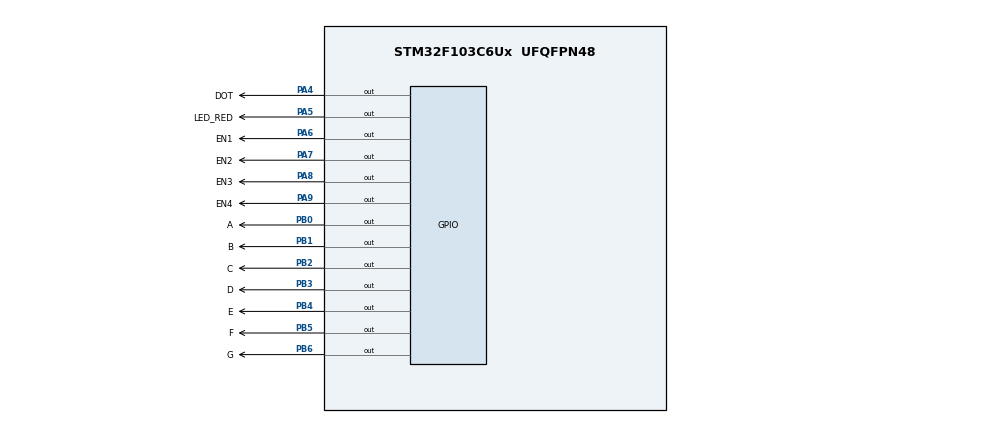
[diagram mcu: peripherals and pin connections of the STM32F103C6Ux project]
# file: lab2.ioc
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Mcu.Family=STM32F1
Mcu.Name=STM32F103C6Ux
Mcu.Package=UFQFPN48
NVIC.PriorityGroup=NVIC_PRIORITYGROUP_4
NVIC.TIM2_IRQn=true\:0\:0\:false\:false\:true\:true\:true
PA4.GPIO_Label=DOT
PA4.Signal=GPIO_Output
PA5.GPIO_Label=LED_RED
PA5.Signal=GPIO_Output
PA6.GPIO_Label=EN1
PA6.Signal=GPIO_Output
PA7.GPIO_Label=EN2
PA7.Signal=GPIO_Output
PA8.GPIO_Label=EN3
PA8.Signal=GPIO_Output
PA9.GPIO_Label=EN4
PA9.Signal=GPIO_Output
PB0.GPIO_Label=A
PB0.Signal=GPIO_Output
PB1.GPIO_Label=B
PB1.Signal=GPIO_Output
PB2.GPIO_Label=C
PB2.Signal=GPIO_Output
PB3.GPIO_Label=D
PB3.Signal=GPIO_Output
PB4.GPIO_Label=E
PB4.Signal=GPIO_Output
PB5.GPIO_Label=F
PB5.Signal=GPIO_Output
PB6.GPIO_Label=G
PB6.Signal=GPIO_Output
ProjectManager.HeapSize=0x200
ProjectManager.StackSize=0x400
ProjectManager.TargetToolchain=STM32CubeIDE
RCC.APB1Freq_Value=8000000
RCC.APB2Freq_Value=8000000
TIM2.Period=9
TIM2.Prescaler=7999
VP_SYS_VS_ND.Mode=No_Debug
VP_TIM2_VS_ClockSourceINT.Mode=Internal
board=custom

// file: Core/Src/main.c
/* USER CODE BEGIN Header */
/**
  ******************************************************************************
  * @file           : main.c
  * @brief          : Main program body
  ******************************************************************************
  * @attention
  *
  * <h2><center>&copy; Copyright (c) 2022 STMicroelectronics.
  * All rights reserved.</center></h2>
  *
  * This software component is licensed by ST under BSD 3-Clause license,
  * the "License"; You may not use this file except in compliance with the
  * License. You may obtain a copy of the License at:
  *                        opensource.org/licenses/BSD-3-Clause
  *
  ******************************************************************************
  */
/* USER CODE END Header */
#include "main.h"

/* USER CODE BEGIN Includes */
#include "software_timer.h"
/* USER CODE END Includes */

TIM_HandleTypeDef htim2;

/* USER CODE BEGIN PV */
int hour, minute, second;
/* USER CODE END PV */

void SystemClock_Config(void);
static void MX_TIM2_Init(void);
static void MX_GPIO_Init(void);
/* USER CODE BEGIN PFP */
void display7SEG(int num);
void update7SEG(int index);
void updateClockBuffer();
/* USER CODE END PFP */

int main(void)
{

  /* MCU Configuration--------------------------------------------------------*/

  /* Reset of all peripherals, Initializes the Flash interface and the Systick. */
  HAL_Init();

  /* Configure the system clock */
  SystemClock_Config();

  /* Initialize all configured peripherals */
  MX_TIM2_Init();
  MX_GPIO_Init();
  /* USER CODE BEGIN 2 */
  HAL_TIM_Base_Start_IT (& htim2 ) ;
  /* USER CODE END 2 */

  /* Infinite loop */
  /* USER CODE BEGIN WHILE */
  setTimer0(1000);
  setTimer1(250);
  hour = 15, minute = 8, second = 50;
  int state = 0;
  while (1)
  {
	  //ex8
	  if( timer0_flag == 1) {
		  second++;
		  if(second >= 60){
			  second = 0;
			  minute++;
		  }
		  if(minute >= 60){
			  minute = 0;
			  hour++;
		  }
		  if(hour >= 24){
			  hour = 0;
		  }
		  updateClockBuffer();
	  	  setTimer0 (10) ;
	  }
	  if(timer1_flag == 1){
		  if(state == 0){
				HAL_GPIO_TogglePin ( DOT_GPIO_Port , DOT_Pin) ;
				setTimer1 (250);
				update7SEG(1);
				state = 1;
		  }
		  else if(state == 1){
				setTimer1 (250);
				update7SEG(2);
				state = 2;
		  }
		  else if(state == 2){
				HAL_GPIO_TogglePin ( DOT_GPIO_Port , DOT_Pin) ;
				setTimer1 (250);
				update7SEG(3);
				state = 3;
		  }
		  else{
				setTimer1 (250);
				update7SEG(0);
				state = 0;
		  }
	  }
    /* USER CODE END WHILE */

  }
}

void SystemClock_Config(void)
{
  RCC_OscInitTypeDef RCC_OscInitStruct = {0};
  RCC_ClkInitTypeDef RCC_ClkInitStruct = {0};

  /** Initializes the RCC Oscillators according to the specified parameters
  * in the RCC_OscInitTypeDef structure.
  */
  RCC_OscInitStruct.OscillatorType = RCC_OSCILLATORTYPE_HSI;
  RCC_OscInitStruct.HSIState = RCC_HSI_ON;
  RCC_OscInitStruct.HSICalibrationValue = RCC_HSICALIBRATION_DEFAULT;
  RCC_OscInitStruct.PLL.PLLState = RCC_PLL_NONE;
  if (HAL_RCC_OscConfig(&RCC_OscInitStruct) != HAL_OK)
  {
    Error_Handler();
  }
  /** Initializes the CPU, AHB and APB buses clocks
  */
  RCC_ClkInitStruct.ClockType = RCC_CLOCKTYPE_HCLK|RCC_CLOCKTYPE_SYSCLK
                              |RCC_CLOCKTYPE_PCLK1|RCC_CLOCKTYPE_PCLK2;
  RCC_ClkInitStruct.SYSCLKSource = RCC_SYSCLKSOURCE_HSI;
  RCC_ClkInitStruct.AHBCLKDivider = RCC_SYSCLK_DIV1;
  RCC_ClkInitStruct.APB1CLKDivider = RCC_HCLK_DIV1;
  RCC_ClkInitStruct.APB2CLKDivider = RCC_HCLK_DIV1;

  if (HAL_RCC_ClockConfig(&RCC_ClkInitStruct, FLASH_LATENCY_0) != HAL_OK)
  {
    Error_Handler();
  }
}

static void MX_TIM2_Init(void)
{

  TIM_ClockConfigTypeDef sClockSourceConfig = {0};
  TIM_MasterConfigTypeDef sMasterConfig = {0};

  htim2.Instance = TIM2;
  htim2.Init.Prescaler = 7999;
  htim2.Init.CounterMode = TIM_COUNTERMODE_UP;
  htim2.Init.Period = 9;
  htim2.Init.ClockDivision = TIM_CLOCKDIVISION_DIV1;
  htim2.Init.AutoReloadPreload = TIM_AUTORELOAD_PRELOAD_DISABLE;
  if (HAL_TIM_Base_Init(&htim2) != HAL_OK)
  {
    Error_Handler();
  }
  sClockSourceConfig.ClockSource = TIM_CLOCKSOURCE_INTERNAL;
  if (HAL_TIM_ConfigClockSource(&htim2, &sClockSourceConfig) != HAL_OK)
  {
    Error_Handler();
  }
  sMasterConfig.MasterOutputTrigger = TIM_TRGO_RESET;
  sMasterConfig.MasterSlaveMode = TIM_MASTERSLAVEMODE_DISABLE;
  if (HAL_TIMEx_MasterConfigSynchronization(&htim2, &sMasterConfig) != HAL_OK)
  {
    Error_Handler();
  }

}

static void MX_GPIO_Init(void)
{
  GPIO_InitTypeDef GPIO_InitStruct = {0};

  /* GPIO Ports Clock Enable */
  __HAL_RCC_GPIOA_CLK_ENABLE();
  __HAL_RCC_GPIOB_CLK_ENABLE();

  /*Configure GPIO pin Output Level */
  HAL_GPIO_WritePin(GPIOA, DOT_Pin|LED_RED_Pin|EN1_Pin|EN2_Pin
                          |EN3_Pin|EN4_Pin, GPIO_PIN_RESET);

  /*Configure GPIO pin Output Level */
  HAL_GPIO_WritePin(GPIOB, A_Pin|B_Pin|C_Pin|D_Pin
                          |E_Pin|F_Pin|G_Pin, GPIO_PIN_RESET);

  /*Configure GPIO pins : DOT_Pin LED_RED_Pin EN1_Pin EN2_Pin
                           EN3_Pin EN4_Pin */
  GPIO_InitStruct.Pin = DOT_Pin|LED_RED_Pin|EN1_Pin|EN2_Pin
                          |EN3_Pin|EN4_Pin;
  GPIO_InitStruct.Mode = GPIO_MODE_OUTPUT_PP;
  GPIO_InitStruct.Pull = GPIO_NOPULL;
  GPIO_InitStruct.Speed = GPIO_SPEED_FREQ_LOW;
  HAL_GPIO_Init(GPIOA, &GPIO_InitStruct);

  /*Configure GPIO pins : A_Pin B_Pin C_Pin D_Pin
                           E_Pin F_Pin G_Pin */
  GPIO_InitStruct.Pin = A_Pin|B_Pin|C_Pin|D_Pin
                          |E_Pin|F_Pin|G_Pin;
  GPIO_InitStruct.Mode = GPIO_MODE_OUTPUT_PP;
  GPIO_InitStruct.Pull = GPIO_NOPULL;
  GPIO_InitStruct.Speed = GPIO_SPEED_FREQ_LOW;
  HAL_GPIO_Init(GPIOB, &GPIO_InitStruct);

}

/* USER CODE BEGIN 4 */
void HAL_TIM_PeriodElapsedCallback ( TIM_HandleTypeDef * htim )
{
	timer_run();
}

const int MAX_LED = 4;
int index_led = 0;
int led_buffer[4] = {1,8,3,4};
//ex5
void updateClockBuffer(){
    led_buffer[0] = hour/10;
    led_buffer[1] = hour%10;
    led_buffer[2] = minute/10;
    led_buffer[3] = minute%10;
}

void update7SEG(int index){
	switch(index){
	case 0:
		HAL_GPIO_WritePin ( EN1_GPIO_Port , EN1_Pin , GPIO_PIN_RESET ) ;
        HAL_GPIO_WritePin ( EN2_GPIO_Port , EN2_Pin , GPIO_PIN_SET ) ;
        HAL_GPIO_WritePin ( EN3_GPIO_Port , EN3_Pin , GPIO_PIN_SET ) ;
        HAL_GPIO_WritePin ( EN4_GPIO_Port , EN4_Pin , GPIO_PIN_SET ) ;
		display7SEG(led_buffer[0]);
		break;
	case 1:
		HAL_GPIO_WritePin ( EN1_GPIO_Port , EN1_Pin , GPIO_PIN_SET ) ;
        HAL_GPIO_WritePin ( EN2_GPIO_Port , EN2_Pin , GPIO_PIN_RESET ) ;
        HAL_GPIO_WritePin ( EN3_GPIO_Port , EN3_Pin , GPIO_PIN_SET ) ;
        HAL_GPIO_WritePin ( EN4_GPIO_Port , EN4_Pin , GPIO_PIN_SET ) ;
		display7SEG(led_buffer[1]);
		break;
	case 2:
		HAL_GPIO_WritePin ( EN1_GPIO_Port , EN1_Pin , GPIO_PIN_SET ) ;
        HAL_GPIO_WritePin ( EN2_GPIO_Port , EN2_Pin , GPIO_PIN_SET ) ;
        HAL_GPIO_WritePin ( EN3_GPIO_Port , EN3_Pin , GPIO_PIN_RESET ) ;
        HAL_GPIO_WritePin ( EN4_GPIO_Port , EN4_Pin , GPIO_PIN_SET ) ;
		display7SEG(led_buffer[2]);
		break;
	case 3:
		HAL_GPIO_WritePin ( EN1_GPIO_Port , EN1_Pin , GPIO_PIN_SET ) ;
        HAL_GPIO_WritePin ( EN2_GPIO_Port , EN2_Pin , GPIO_PIN_SET ) ;
        HAL_GPIO_WritePin ( EN3_GPIO_Port , EN3_Pin , GPIO_PIN_SET ) ;
        HAL_GPIO_WritePin ( EN4_GPIO_Port , EN4_Pin , GPIO_PIN_RESET ) ;
		display7SEG(led_buffer[3]);
		break;
	default:
		break;
	}
}

void display7SEG(int num){
	switch(num){
	case 0:
		HAL_GPIO_WritePin ( A_GPIO_Port , A_Pin , GPIO_PIN_RESET ) ;
		HAL_GPIO_WritePin ( B_GPIO_Port , B_Pin , GPIO_PIN_RESET ) ;
		HAL_GPIO_WritePin ( C_GPIO_Port , C_Pin , GPIO_PIN_RESET ) ;
		HAL_GPIO_WritePin ( D_GPIO_Port , D_Pin , GPIO_PIN_RESET ) ;
		HAL_GPIO_WritePin ( E_GPIO_Port , E_Pin , GPIO_PIN_RESET ) ;
		HAL_GPIO_WritePin ( F_GPIO_Port , F_Pin , GPIO_PIN_RESET ) ;
		HAL_GPIO_WritePin ( G_GPIO_Port , G_Pin , GPIO_PIN_SET ) ;
		break;
	case 1:
		HAL_GPIO_WritePin ( A_GPIO_Port , A_Pin , GPIO_PIN_SET ) ;
		HAL_GPIO_WritePin ( B_GPIO_Port , B_Pin , GPIO_PIN_RESET ) ;
		HAL_GPIO_WritePin ( C_GPIO_Port , C_Pin , GPIO_PIN_RESET ) ;
		HAL_GPIO_WritePin ( D_GPIO_Port , D_Pin , GPIO_PIN_SET ) ;
		HAL_GPIO_WritePin ( E_GPIO_Port , E_Pin , GPIO_PIN_SET ) ;
		HAL_GPIO_WritePin ( F_GPIO_Port , F_Pin , GPIO_PIN_SET ) ;
		HAL_GPIO_WritePin ( G_GPIO_Port , G_Pin , GPIO_PIN_SET ) ;
		break;
	case 2:
		HAL_GPIO_WritePin ( A_GPIO_Port , A_Pin , GPIO_PIN_RESET ) ;
		HAL_GPIO_WritePin ( B_GPIO_Port , B_Pin , GPIO_PIN_RESET ) ;
		HAL_GPIO_WritePin ( C_GPIO_Port , C_Pin , GPIO_PIN_SET ) ;
		HAL_GPIO_WritePin ( D_GPIO_Port , D_Pin , GPIO_PIN_RESET ) ;
		HAL_GPIO_WritePin ( E_GPIO_Port , E_Pin , GPIO_PIN_RESET ) ;
		HAL_GPIO_WritePin ( F_GPIO_Port , F_Pin , GPIO_PIN_SET ) ;
		HAL_GPIO_WritePin ( G_GPIO_Port , G_Pin , GPIO_PIN_RESET ) ;
		break;
	case 3:
		HAL_GPIO_WritePin ( A_GPIO_Port , A_Pin , GPIO_PIN_RESET ) ;
		HAL_GPIO_WritePin ( B_GPIO_Port , B_Pin , GPIO_PIN_RESET ) ;
		HAL_GPIO_WritePin ( C_GPIO_Port , C_Pin , GPIO_PIN_RESET ) ;
		HAL_GPIO_WritePin ( D_GPIO_Port , D_Pin , GPIO_PIN_RESET ) ;
		HAL_GPIO_WritePin ( E_GPIO_Port , E_Pin , GPIO_PIN_SET ) ;
		HAL_GPIO_WritePin ( F_GPIO_Port , F_Pin , GPIO_PIN_SET ) ;
		HAL_GPIO_WritePin ( G_GPIO_Port , G_Pin , GPIO_PIN_RESET ) ;
		break;
	case 4:
		HAL_GPIO_WritePin ( A_GPIO_Port , A_Pin , GPIO_PIN_SET ) ;
		HAL_GPIO_WritePin ( B_GPIO_Port , B_Pin , GPIO_PIN_RESET ) ;
		HAL_GPIO_WritePin ( C_GPIO_Port , C_Pin , GPIO_PIN_RESET ) ;
		HAL_GPIO_WritePin ( D_GPIO_Port , D_Pin , GPIO_PIN_SET ) ;
		HAL_GPIO_WritePin ( E_GPIO_Port , E_Pin , GPIO_PIN_SET ) ;
		HAL_GPIO_WritePin ( F_GPIO_Port , F_Pin , GPIO_PIN_RESET ) ;
		HAL_GPIO_WritePin ( G_GPIO_Port , G_Pin , GPIO_PIN_RESET ) ;
		break;
	case 5:
		HAL_GPIO_WritePin ( A_GPIO_Port , A_Pin , GPIO_PIN_RESET ) ;
		HAL_GPIO_WritePin ( B_GPIO_Port , B_Pin , GPIO_PIN_SET ) ;
		HAL_GPIO_WritePin ( C_GPIO_Port , C_Pin , GPIO_PIN_RESET ) ;
		HAL_GPIO_WritePin ( D_GPIO_Port , D_Pin , GPIO_PIN_RESET ) ;
		HAL_GPIO_WritePin ( E_GPIO_Port , E_Pin , GPIO_PIN_SET ) ;
		HAL_GPIO_WritePin ( F_GPIO_Port , F_Pin , GPIO_PIN_RESET ) ;
		HAL_GPIO_WritePin ( G_GPIO_Port , G_Pin , GPIO_PIN_RESET ) ;
		break;
	case 6:
		HAL_GPIO_WritePin ( A_GPIO_Port , A_Pin , GPIO_PIN_RESET ) ;
		HAL_GPIO_WritePin ( B_GPIO_Port , B_Pin , GPIO_PIN_SET ) ;
		HAL_GPIO_WritePin ( C_GPIO_Port , C_Pin , GPIO_PIN_RESET ) ;
		HAL_GPIO_WritePin ( D_GPIO_Port , D_Pin , GPIO_PIN_RESET ) ;
		HAL_GPIO_WritePin ( E_GPIO_Port , E_Pin , GPIO_PIN_RESET ) ;
		HAL_GPIO_WritePin ( F_GPIO_Port , F_Pin , GPIO_PIN_RESET ) ;
		HAL_GPIO_WritePin ( G_GPIO_Port , G_Pin , GPIO_PIN_RESET ) ;
		break;
	case 7:
		HAL_GPIO_WritePin ( A_GPIO_Port , A_Pin , GPIO_PIN_RESET ) ;
		HAL_GPIO_WritePin ( B_GPIO_Port , B_Pin , GPIO_PIN_RESET ) ;
		HAL_GPIO_WritePin ( C_GPIO_Port , C_Pin , GPIO_PIN_RESET ) ;
		HAL_GPIO_WritePin ( D_GPIO_Port , D_Pin , GPIO_PIN_SET ) ;
		HAL_GPIO_WritePin ( E_GPIO_Port , E_Pin , GPIO_PIN_SET ) ;
		HAL_GPIO_WritePin ( F_GPIO_Port , F_Pin , GPIO_PIN_SET ) ;
		HAL_GPIO_WritePin ( G_GPIO_Port , G_Pin , GPIO_PIN_SET ) ;
		break;
	case 8:
		HAL_GPIO_WritePin ( A_GPIO_Port , A_Pin , GPIO_PIN_RESET ) ;
		HAL_GPIO_WritePin ( B_GPIO_Port , B_Pin , GPIO_PIN_RESET ) ;
		HAL_GPIO_WritePin ( C_GPIO_Port , C_Pin , GPIO_PIN_RESET ) ;
		HAL_GPIO_WritePin ( D_GPIO_Port , D_Pin , GPIO_PIN_RESET ) ;
		HAL_GPIO_WritePin ( E_GPIO_Port , E_Pin , GPIO_PIN_RESET ) ;
		HAL_GPIO_WritePin ( F_GPIO_Port , F_Pin , GPIO_PIN_RESET ) ;
		HAL_GPIO_WritePin ( G_GPIO_Port , G_Pin , GPIO_PIN_RESET ) ;
		break;
	case 9:
		HAL_GPIO_WritePin ( A_GPIO_Port , A_Pin , GPIO_PIN_RESET ) ;
		HAL_GPIO_WritePin ( B_GPIO_Port , B_Pin , GPIO_PIN_RESET ) ;
		HAL_GPIO_WritePin ( C_GPIO_Port , C_Pin , GPIO_PIN_RESET ) ;
		HAL_GPIO_WritePin ( D_GPIO_Port , D_Pin , GPIO_PIN_RESET ) ;
		HAL_GPIO_WritePin ( E_GPIO_Port , E_Pin , GPIO_PIN_SET ) ;
		HAL_GPIO_WritePin ( F_GPIO_Port , F_Pin , GPIO_PIN_RESET ) ;
		HAL_GPIO_WritePin ( G_GPIO_Port , G_Pin , GPIO_PIN_RESET ) ;
		break;
	default:
		HAL_GPIO_WritePin ( A_GPIO_Port , A_Pin , GPIO_PIN_RESET ) ;
		HAL_GPIO_WritePin ( B_GPIO_Port , B_Pin , GPIO_PIN_RESET ) ;
		HAL_GPIO_WritePin ( C_GPIO_Port , C_Pin , GPIO_PIN_RESET ) ;
		HAL_GPIO_WritePin ( D_GPIO_Port , D_Pin , GPIO_PIN_RESET ) ;
		HAL_GPIO_WritePin ( E_GPIO_Port , E_Pin , GPIO_PIN_RESET ) ;
		HAL_GPIO_WritePin ( F_GPIO_Port , F_Pin , GPIO_PIN_RESET ) ;
		HAL_GPIO_WritePin ( G_GPIO_Port , G_Pin , GPIO_PIN_RESET ) ;

	}
}
/* USER CODE END 4 */

void Error_Handler(void)
{
  __disable_irq();
  while (1)
  {
  }
}

/************************ (C) COPYRIGHT STMicroelectronics *****END OF FILE****/
